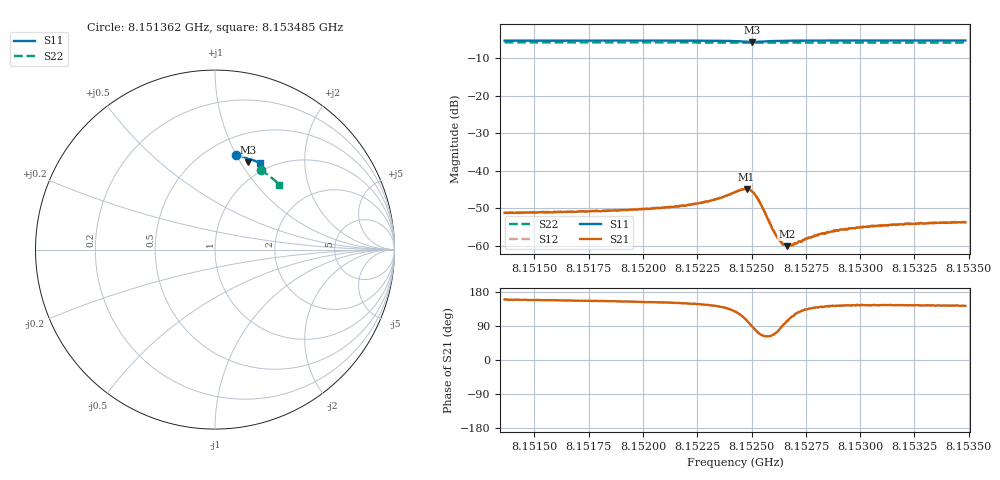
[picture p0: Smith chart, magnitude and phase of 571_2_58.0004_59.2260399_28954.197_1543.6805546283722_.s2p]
#  HZ  S  RI  R  50.00
! Rohde & Schwarz Vector Network Analyzer
! Rohde-Schwarz,ZNB20-2Port,1311601062101988,3.16
! Created: UTC 3/21/2024, 1:15:55 AM
! freq[Hz]  re:S11  im:S11  re:S21  im:S21  re:S12  im:S12  re:S22  im:S22
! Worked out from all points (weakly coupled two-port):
!   401 points, 8.151362 GHz to 8.153485 GHz, reference 50 ohm
!   highest |S21| = -44.84 dB at 8.152477 GHz (marker M1); lowest = -60.1 dB at 8.152662 GHz (marker M2)
!   lowest |S11| = -5.7 dB at 8.152503 GHz (marker M3), VSWR 3.16, Z = 40.4 + j53.7 ohm
!   |S11| at or under -10 dB: nowhere
!   |S22| runs from -5.9 to -5.8 dB; largest |S21 - S12| = 0.00011
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8.1513625e9  0.1149 0.5274  -0.00257 0.000949  -0.00258 0.001  0.2536 0.4441
8.151718e9  0.1397 0.522  -0.00264 0.00114  -0.00264 0.00119  0.273 0.432
8.1520734e9  0.1647 0.5149  -0.0028 0.00149  -0.00283 0.00154  0.2918 0.4189
8.1521848e9  0.1731 0.5117  -0.00294 0.00172  -0.00298 0.00179  0.2974 0.4145
8.1522644e9  0.1795 0.509  -0.00312 0.00205  -0.00312 0.00208  0.3014 0.4115
8.1523546e9  0.1871 0.504  -0.00336 0.00274  -0.00337 0.00283  0.3061 0.4078
8.1524236e9  0.1923 0.4963  -0.00319 0.00407  -0.00316 0.00415  0.3094 0.4048
8.1524554e9  0.192 0.4902  -0.00251 0.00504  -0.00246 0.0051  0.3109 0.4034
8.1524766e9  0.1891 0.4865  -0.00149 0.00553  -0.00144 0.00557  0.3115 0.4025
8.1525031e9  0.1825 0.4855  0.000186 0.00526  0.000252 0.00532  0.3127 0.4017
8.1525191e9  0.1793 0.4878  0.000949 0.00457  0.000996 0.00461  0.3133 0.4012
8.152535e9  0.1776 0.4912  0.00134 0.00369  0.00138 0.00371  0.3141 0.4007
8.1525933e9  0.1823 0.5005  0.00073 0.00157  0.000782 0.00162  0.3171 0.3988
8.1526145e9  0.1849 0.5018  0.000419 0.0013  0.000416 0.00129  0.3183 0.3979
8.1526411e9  0.1883 0.5026  1.3e-05 0.00105  4.13e-05 0.00111  0.3196 0.397
8.1526623e9  0.1908 0.5027  -0.000232 0.000963  -0.000212 0.001  0.3207 0.396
8.1526835e9  0.1931 0.5027  -0.000403 0.000925  -0.000419 0.00094  0.3217 0.3952
8.152779e9  0.2017 0.5012  -0.000967 0.000888  -0.000946 0.000932  0.3265 0.3912
8.1528215e9  0.2052 0.5003  -0.00113 0.000923  -0.00111 0.000967  0.3285 0.3894
8.1529169e9  0.2125 0.4979  -0.00133 0.000976  -0.00131 0.000988  0.3331 0.3851
8.1531345e9  0.2275 0.4921  -0.00157 0.00109  -0.00155 0.00113  0.3432 0.3759
8.1534846e9  0.2502 0.4817  -0.00163 0.00124  -0.00163 0.00128  0.3589 0.3602
